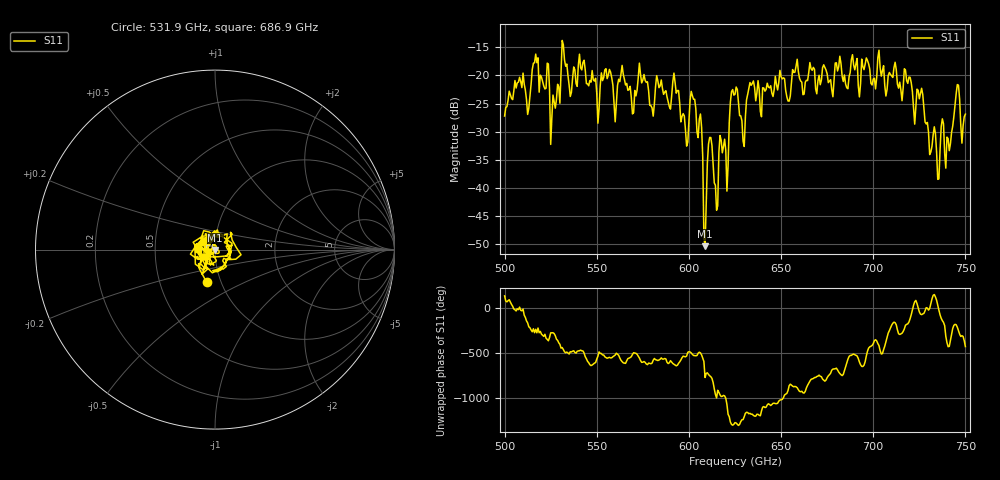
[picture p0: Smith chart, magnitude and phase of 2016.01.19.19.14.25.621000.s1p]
!Created with skrf (http://scikit-rf.org).
# GHz S RI R 50.0
!freq ReS11 ImS11
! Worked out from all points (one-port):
!   401 points, 500 GHz to 750 GHz, reference 50 ohm
!   lowest |S11| = -50.3 dB at 608.8 GHz (marker M1), VSWR 1.01, Z = 50.2 - j0.252 ohm
!   |S11| at or under -10 dB: start of sweep to end of sweep
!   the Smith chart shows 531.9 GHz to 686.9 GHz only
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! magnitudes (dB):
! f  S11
! 500 GHz  -27.2
! 508.8 GHz  -21.1
! 513.1 GHz  -25.8
! 516.9 GHz  -16.2
! 526.2 GHz  -23.5
! 531.2 GHz  -13.8
! 550.6 GHz  -28.5
! 562.5 GHz  -21.1
! 570 GHz  -26.6
! 574.4 GHz  -21.3
! 580 GHz  -25.8
! 593.8 GHz  -22.7
! 598.8 GHz  -32.6
! 602.5 GHz  -24.2
! 606.2 GHz  -26.9
! 608.8 GHz  -50.3
! 611.2 GHz  -31.0
! 615 GHz  -44.0
! 625 GHz  -23.4
! 629.4 GHz  -31.7
! 633.8 GHz  -21.8
! 656.2 GHz  -19.0
! 687.5 GHz  -19.5
! 718.8 GHz  -21.4
! 735 GHz  -38.5
! 740.6 GHz  -31.2
! 745.6 GHz  -21.6
! 750 GHz  -26.9
